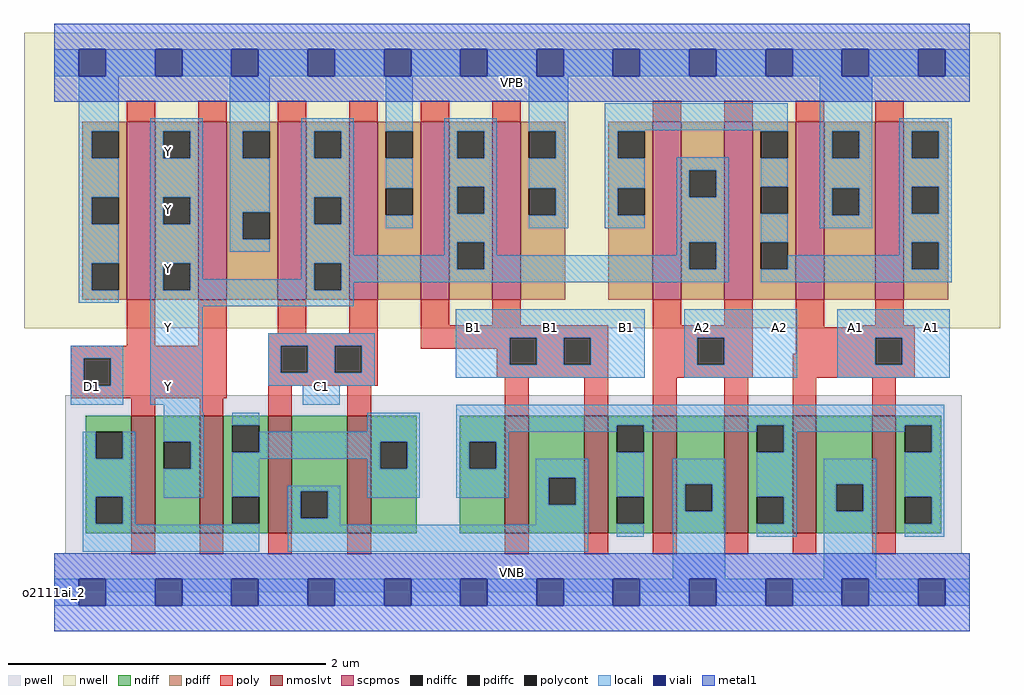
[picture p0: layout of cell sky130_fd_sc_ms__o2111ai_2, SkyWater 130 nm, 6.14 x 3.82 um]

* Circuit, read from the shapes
.subckt sky130_fd_sc_ms__o2111ai_2 A1 A2 B1 C1 D1 VGND VNB VPB VPWR Y
XM1 Y D1 n1 VNB sky130_fd_pr__nfet_01v8_lvt w=0.74 l=0.15 m=2
XM2 n2 C1 n1 VNB sky130_fd_pr__nfet_01v8_lvt w=0.74 l=0.15 m=2
XM3 n2 B1 n3 VNB sky130_fd_pr__nfet_01v8_lvt w=0.74 l=0.15 m=2
XM4 VGND A2 n3 VNB sky130_fd_pr__nfet_01v8_lvt w=0.74 l=0.15 m=2
XM5 VGND A1 n3 VNB sky130_fd_pr__nfet_01v8_lvt w=0.74 l=0.15 m=2
XM6 Y D1 VPWR VPB sky130_fd_pr__pfet_01v8 w=1.12 l=0.18 m=2
XM7 Y C1 VPWR VPB sky130_fd_pr__pfet_01v8 w=1.12 l=0.18 m=2
XM8 Y B1 VPWR VPB sky130_fd_pr__pfet_01v8 w=1.12 l=0.18 m=2
XM9 Y A2 n4 VPB sky130_fd_pr__pfet_01v8 w=1.12 l=0.18 m=2
XM10 VPWR A1 n4 VPB sky130_fd_pr__pfet_01v8 w=1.12 l=0.18 m=2
.ends

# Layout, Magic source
magic
tech sky130A
magscale 1 2
<< nwell >>
rect -38 332 1190 704
<< pwell >>
rect 14 49 1142 248
rect 0 0 1152 49
<< scpmos >>
rect 91 368 127 592
rect 181 368 217 592
rect 281 368 317 592
rect 371 368 407 592
rect 461 368 497 592
rect 551 368 587 592
rect 753 368 789 592
rect 843 368 879 592
rect 933 368 969 592
rect 1033 368 1069 592
<< nmoslvt >>
rect 97 74 127 222
rect 183 74 213 222
rect 269 74 299 222
rect 369 74 399 222
rect 567 74 597 222
rect 667 74 697 222
rect 753 74 783 222
rect 843 74 873 222
rect 929 74 959 222
rect 1029 74 1059 222
<< ndiff >>
rect 40 202 97 222
rect 40 168 52 202
rect 86 168 97 202
rect 40 120 97 168
rect 40 86 52 120
rect 86 86 97 120
rect 40 74 97 86
rect 127 189 183 222
rect 127 155 138 189
rect 172 155 183 189
rect 127 74 183 155
rect 213 210 269 222
rect 213 176 224 210
rect 258 176 269 210
rect 213 120 269 176
rect 213 86 224 120
rect 258 86 269 120
rect 213 74 269 86
rect 299 127 369 222
rect 299 93 310 127
rect 344 93 369 127
rect 299 74 369 93
rect 399 189 456 222
rect 399 155 410 189
rect 444 155 456 189
rect 399 74 456 155
rect 510 189 567 222
rect 510 155 522 189
rect 556 155 567 189
rect 510 74 567 155
rect 597 144 667 222
rect 597 110 622 144
rect 656 110 667 144
rect 597 74 667 110
rect 697 210 753 222
rect 697 176 708 210
rect 742 176 753 210
rect 697 120 753 176
rect 697 86 708 120
rect 742 86 753 120
rect 697 74 753 86
rect 783 136 843 222
rect 783 102 794 136
rect 828 102 843 136
rect 783 74 843 102
rect 873 210 929 222
rect 873 176 884 210
rect 918 176 929 210
rect 873 120 929 176
rect 873 86 884 120
rect 918 86 929 120
rect 873 74 929 86
rect 959 136 1029 222
rect 959 102 984 136
rect 1018 102 1029 136
rect 959 74 1029 102
rect 1059 210 1116 222
rect 1059 176 1070 210
rect 1104 176 1116 210
rect 1059 120 1116 176
rect 1059 86 1070 120
rect 1104 86 1116 120
rect 1059 74 1116 86
<< pdiff >>
rect 35 580 91 592
rect 35 546 47 580
rect 81 546 91 580
rect 35 497 91 546
rect 35 463 47 497
rect 81 463 91 497
rect 35 414 91 463
rect 35 380 47 414
rect 81 380 91 414
rect 35 368 91 380
rect 127 580 181 592
rect 127 546 137 580
rect 171 546 181 580
rect 127 497 181 546
rect 127 463 137 497
rect 171 463 181 497
rect 127 414 181 463
rect 127 380 137 414
rect 171 380 181 414
rect 127 368 181 380
rect 217 580 281 592
rect 217 546 237 580
rect 271 546 281 580
rect 217 478 281 546
rect 217 444 237 478
rect 271 444 281 478
rect 217 368 281 444
rect 317 580 371 592
rect 317 546 327 580
rect 361 546 371 580
rect 317 497 371 546
rect 317 463 327 497
rect 361 463 371 497
rect 317 414 371 463
rect 317 380 327 414
rect 361 380 371 414
rect 317 368 371 380
rect 407 580 461 592
rect 407 546 417 580
rect 451 546 461 580
rect 407 508 461 546
rect 407 474 417 508
rect 451 474 461 508
rect 407 368 461 474
rect 497 580 551 592
rect 497 546 507 580
rect 541 546 551 580
rect 497 510 551 546
rect 497 476 507 510
rect 541 476 551 510
rect 497 440 551 476
rect 497 406 507 440
rect 541 406 551 440
rect 497 368 551 406
rect 587 580 643 592
rect 587 546 597 580
rect 631 546 643 580
rect 587 508 643 546
rect 587 474 597 508
rect 631 474 643 508
rect 587 368 643 474
rect 697 580 753 592
rect 697 546 709 580
rect 743 546 753 580
rect 697 508 753 546
rect 697 474 709 508
rect 743 474 753 508
rect 697 368 753 474
rect 789 531 843 592
rect 789 497 799 531
rect 833 497 843 531
rect 789 440 843 497
rect 789 406 799 440
rect 833 406 843 440
rect 789 368 843 406
rect 879 580 933 592
rect 879 546 889 580
rect 923 546 933 580
rect 879 510 933 546
rect 879 476 889 510
rect 923 476 933 510
rect 879 440 933 476
rect 879 406 889 440
rect 923 406 933 440
rect 879 368 933 406
rect 969 580 1033 592
rect 969 546 979 580
rect 1013 546 1033 580
rect 969 508 1033 546
rect 969 474 979 508
rect 1013 474 1033 508
rect 969 368 1033 474
rect 1069 580 1125 592
rect 1069 546 1079 580
rect 1113 546 1125 580
rect 1069 510 1125 546
rect 1069 476 1079 510
rect 1113 476 1125 510
rect 1069 440 1125 476
rect 1069 406 1079 440
rect 1113 406 1125 440
rect 1069 368 1125 406
<< ndiffc >>
rect 52 168 86 202
rect 52 86 86 120
rect 138 155 172 189
rect 224 176 258 210
rect 224 86 258 120
rect 310 93 344 127
rect 410 155 444 189
rect 522 155 556 189
rect 622 110 656 144
rect 708 176 742 210
rect 708 86 742 120
rect 794 102 828 136
rect 884 176 918 210
rect 884 86 918 120
rect 984 102 1018 136
rect 1070 176 1104 210
rect 1070 86 1104 120
<< pdiffc >>
rect 47 546 81 580
rect 47 463 81 497
rect 47 380 81 414
rect 137 546 171 580
rect 137 463 171 497
rect 137 380 171 414
rect 237 546 271 580
rect 237 444 271 478
rect 327 546 361 580
rect 327 463 361 497
rect 327 380 361 414
rect 417 546 451 580
rect 417 474 451 508
rect 507 546 541 580
rect 507 476 541 510
rect 507 406 541 440
rect 597 546 631 580
rect 597 474 631 508
rect 709 546 743 580
rect 709 474 743 508
rect 799 497 833 531
rect 799 406 833 440
rect 889 546 923 580
rect 889 476 923 510
rect 889 406 923 440
rect 979 546 1013 580
rect 979 474 1013 508
rect 1079 546 1113 580
rect 1079 476 1113 510
rect 1079 406 1113 440
<< poly >>
rect 91 592 127 618
rect 181 592 217 618
rect 281 592 317 618
rect 371 592 407 618
rect 461 592 497 618
rect 551 592 587 618
rect 753 592 789 618
rect 843 592 879 618
rect 933 592 969 618
rect 1033 592 1069 618
rect 91 310 127 368
rect 181 310 217 368
rect 281 326 317 368
rect 371 326 407 368
rect 21 294 217 310
rect 21 260 37 294
rect 71 260 217 294
rect 21 244 217 260
rect 269 310 407 326
rect 269 276 285 310
rect 319 276 353 310
rect 387 276 407 310
rect 461 336 497 368
rect 551 336 587 368
rect 753 336 789 368
rect 843 336 879 368
rect 461 320 697 336
rect 461 306 573 320
rect 269 260 407 276
rect 557 286 573 306
rect 607 286 641 320
rect 675 286 697 320
rect 557 270 697 286
rect 97 222 127 244
rect 183 222 213 244
rect 269 222 299 260
rect 369 222 399 260
rect 567 222 597 270
rect 667 222 697 270
rect 753 320 879 336
rect 753 286 809 320
rect 843 286 879 320
rect 933 333 969 368
rect 1033 336 1069 368
rect 1017 333 1083 336
rect 933 320 1083 333
rect 933 300 1033 320
rect 753 270 879 286
rect 929 286 1033 300
rect 1067 286 1083 320
rect 929 270 1083 286
rect 753 222 783 270
rect 843 222 873 270
rect 929 222 959 270
rect 1029 222 1059 270
rect 97 48 127 74
rect 183 48 213 74
rect 269 48 299 74
rect 369 48 399 74
rect 567 48 597 74
rect 667 48 697 74
rect 753 48 783 74
rect 843 48 873 74
rect 929 48 959 74
rect 1029 48 1059 74
<< polycont >>
rect 37 260 71 294
rect 285 276 319 310
rect 353 276 387 310
rect 573 286 607 320
rect 641 286 675 320
rect 809 286 843 320
rect 1033 286 1067 320
<< locali >>
rect 0 649 31 683
rect 65 649 127 683
rect 161 649 223 683
rect 257 649 319 683
rect 353 649 415 683
rect 449 649 511 683
rect 545 649 607 683
rect 641 649 703 683
rect 737 649 799 683
rect 833 649 895 683
rect 929 649 991 683
rect 1025 649 1087 683
rect 1121 649 1152 683
rect 31 580 81 649
rect 31 546 47 580
rect 31 497 81 546
rect 31 463 47 497
rect 31 414 81 463
rect 31 380 47 414
rect 31 364 81 380
rect 121 580 187 596
rect 121 546 137 580
rect 171 546 187 580
rect 121 497 187 546
rect 121 463 137 497
rect 171 463 187 497
rect 121 414 187 463
rect 221 580 271 649
rect 221 546 237 580
rect 221 478 271 546
rect 221 444 237 478
rect 221 428 271 444
rect 311 580 377 596
rect 311 546 327 580
rect 361 546 377 580
rect 311 497 377 546
rect 311 463 327 497
rect 361 463 377 497
rect 121 380 137 414
rect 171 394 187 414
rect 311 424 377 463
rect 417 580 451 649
rect 417 508 451 546
rect 417 458 451 474
rect 491 580 557 596
rect 491 546 507 580
rect 541 546 557 580
rect 491 510 557 546
rect 491 476 507 510
rect 541 476 557 510
rect 491 440 557 476
rect 597 580 647 649
rect 631 546 647 580
rect 597 508 647 546
rect 631 474 647 508
rect 597 458 647 474
rect 693 581 923 615
rect 693 580 743 581
rect 693 546 709 580
rect 889 580 923 581
rect 693 508 743 546
rect 693 474 709 508
rect 693 458 743 474
rect 783 531 849 547
rect 783 497 799 531
rect 833 497 849 531
rect 491 424 507 440
rect 311 414 507 424
rect 311 394 327 414
rect 171 380 327 394
rect 361 406 507 414
rect 541 424 557 440
rect 783 440 849 497
rect 783 424 799 440
rect 541 406 799 424
rect 833 406 849 440
rect 361 390 849 406
rect 889 510 923 546
rect 889 440 923 476
rect 963 580 1029 649
rect 963 546 979 580
rect 1013 546 1029 580
rect 963 508 1029 546
rect 963 474 979 508
rect 1013 474 1029 508
rect 963 458 1029 474
rect 1063 580 1129 596
rect 1063 546 1079 580
rect 1113 546 1129 580
rect 1063 510 1129 546
rect 1063 476 1079 510
rect 1113 476 1129 510
rect 1063 440 1129 476
rect 1063 424 1079 440
rect 923 406 1079 424
rect 1113 406 1129 440
rect 889 390 1129 406
rect 361 380 377 390
rect 121 360 377 380
rect 21 294 87 310
rect 21 260 37 294
rect 71 260 87 294
rect 21 236 87 260
rect 121 236 187 360
rect 269 310 403 326
rect 269 276 285 310
rect 319 276 353 310
rect 387 276 403 310
rect 269 260 403 276
rect 505 320 743 356
rect 505 286 573 320
rect 607 286 641 320
rect 675 286 743 320
rect 505 270 743 286
rect 793 320 935 356
rect 793 286 809 320
rect 843 286 935 320
rect 793 270 935 286
rect 985 320 1127 356
rect 985 286 1033 320
rect 1067 286 1127 320
rect 985 270 1127 286
rect 313 236 359 260
rect 138 226 187 236
rect 36 168 52 202
rect 86 168 102 202
rect 36 120 102 168
rect 36 86 52 120
rect 86 86 102 120
rect 138 189 188 226
rect 172 155 188 189
rect 138 119 188 155
rect 224 210 258 226
rect 394 202 460 226
rect 258 189 460 202
rect 258 176 410 189
rect 224 168 410 176
rect 224 120 258 168
rect 394 155 410 168
rect 444 155 460 189
rect 36 85 102 86
rect 224 85 258 86
rect 36 51 258 85
rect 294 127 360 134
rect 294 93 310 127
rect 344 93 360 127
rect 394 119 460 155
rect 506 210 1120 236
rect 506 202 708 210
rect 506 189 572 202
rect 506 155 522 189
rect 556 155 572 189
rect 742 202 884 210
rect 506 119 572 155
rect 606 144 672 168
rect 294 85 360 93
rect 606 110 622 144
rect 656 110 672 144
rect 606 85 672 110
rect 294 51 672 85
rect 708 120 742 176
rect 918 202 1070 210
rect 918 176 934 202
rect 708 70 742 86
rect 778 136 844 168
rect 778 102 794 136
rect 828 102 844 136
rect 778 17 844 102
rect 884 120 934 176
rect 1104 176 1120 210
rect 918 86 934 120
rect 884 70 934 86
rect 968 136 1034 168
rect 968 102 984 136
rect 1018 102 1034 136
rect 968 17 1034 102
rect 1070 120 1120 176
rect 1104 86 1120 120
rect 1070 70 1120 86
rect 0 -17 31 17
rect 65 -17 127 17
rect 161 -17 223 17
rect 257 -17 319 17
rect 353 -17 415 17
rect 449 -17 511 17
rect 545 -17 607 17
rect 641 -17 703 17
rect 737 -17 799 17
rect 833 -17 895 17
rect 929 -17 991 17
rect 1025 -17 1087 17
rect 1121 -17 1152 17
<< viali >>
rect 31 649 65 683
rect 127 649 161 683
rect 223 649 257 683
rect 319 649 353 683
rect 415 649 449 683
rect 511 649 545 683
rect 607 649 641 683
rect 703 649 737 683
rect 799 649 833 683
rect 895 649 929 683
rect 991 649 1025 683
rect 1087 649 1121 683
rect 31 -17 65 17
rect 127 -17 161 17
rect 223 -17 257 17
rect 319 -17 353 17
rect 415 -17 449 17
rect 511 -17 545 17
rect 607 -17 641 17
rect 703 -17 737 17
rect 799 -17 833 17
rect 895 -17 929 17
rect 991 -17 1025 17
rect 1087 -17 1121 17
<< metal1 >>
rect 0 683 1152 715
rect 0 649 31 683
rect 65 649 127 683
rect 161 649 223 683
rect 257 649 319 683
rect 353 649 415 683
rect 449 649 511 683
rect 545 649 607 683
rect 641 649 703 683
rect 737 649 799 683
rect 833 649 895 683
rect 929 649 991 683
rect 1025 649 1087 683
rect 1121 649 1152 683
rect 0 617 1152 649
rect 0 17 1152 49
rect 0 -17 31 17
rect 65 -17 127 17
rect 161 -17 223 17
rect 257 -17 319 17
rect 353 -17 415 17
rect 449 -17 511 17
rect 545 -17 607 17
rect 641 -17 703 17
rect 737 -17 799 17
rect 833 -17 895 17
rect 929 -17 991 17
rect 1025 -17 1087 17
rect 1121 -17 1152 17
rect 0 -49 1152 -17
<< labels >>
flabel pwell s 0 0 1152 49 0 FreeSans 200 0 0 0 VNB
port 7 nsew ground bidirectional
flabel nwell s 0 617 1152 666 0 FreeSans 200 0 0 0 VPB
port 8 nsew power bidirectional
rlabel comment s 0 0 0 0 4 o2111ai_2
flabel metal1 s 0 617 1152 666 0 FreeSans 340 0 0 0 VPWR
port 9 nsew power bidirectional
flabel metal1 s 0 0 1152 49 0 FreeSans 340 0 0 0 VGND
port 6 nsew ground bidirectional
flabel locali s 31 242 65 276 0 FreeSans 340 0 0 0 D1
port 5 nsew signal input
flabel locali s 319 242 353 276 0 FreeSans 340 0 0 0 C1
port 4 nsew signal input
flabel locali s 511 316 545 350 0 FreeSans 340 0 0 0 B1
port 3 nsew signal input
flabel locali s 607 316 641 350 0 FreeSans 340 0 0 0 B1
port 3 nsew signal input
flabel locali s 703 316 737 350 0 FreeSans 340 0 0 0 B1
port 3 nsew signal input
flabel locali s 799 316 833 350 0 FreeSans 340 0 0 0 A2
port 2 nsew signal input
flabel locali s 895 316 929 350 0 FreeSans 340 0 0 0 A2
port 2 nsew signal input
flabel locali s 991 316 1025 350 0 FreeSans 340 0 0 0 A1
port 1 nsew signal input
flabel locali s 1087 316 1121 350 0 FreeSans 340 0 0 0 A1
port 1 nsew signal input
flabel locali s 127 242 161 276 0 FreeSans 340 0 0 0 Y
port 10 nsew signal output
flabel locali s 127 316 161 350 0 FreeSans 340 0 0 0 Y
port 10 nsew signal output
flabel locali s 127 390 161 424 0 FreeSans 340 0 0 0 Y
port 10 nsew signal output
flabel locali s 127 464 161 498 0 FreeSans 340 0 0 0 Y
port 10 nsew signal output
flabel locali s 127 538 161 572 0 FreeSans 340 0 0 0 Y
port 10 nsew signal output
<< properties >>
string LEFsite unit
string LEFclass CORE
string FIXED_BBOX 0 0 1152 666
string GDS_FILE $PDKPATH/libs.ref/sky130_fd_sc_ms/gds/sky130_fd_sc_ms.gds
string LEFsymmetry X Y
string GDS_END 2753434
string GDS_START 2742838
<< end >>
